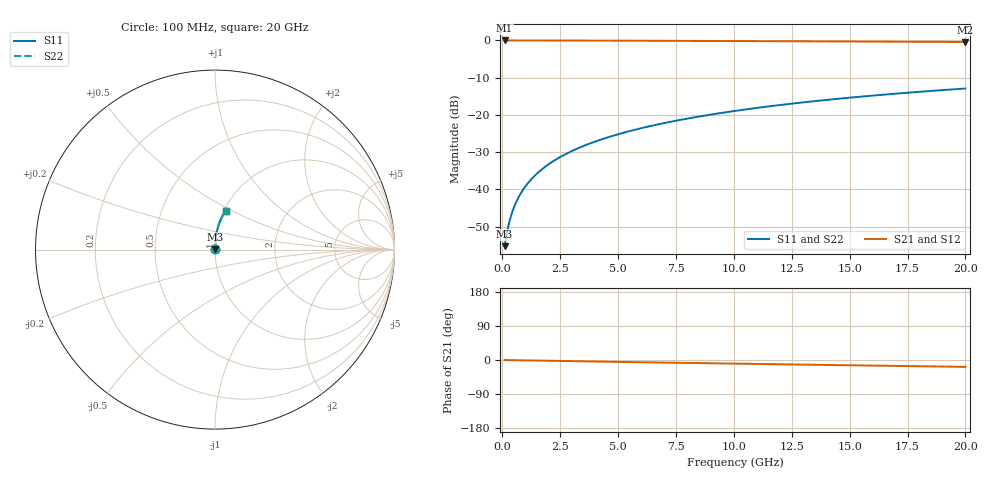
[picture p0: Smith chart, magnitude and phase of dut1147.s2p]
! Touchstone file exported from HFSS 2024.1.0
!  File:  C:/UserFiles/LocalFiles/RDL_TSV_Batchsim/temp_RDL_top_1147_1780048013.aedt
!  Generated:  05:49:12 PM May 29, 2026
!  Design:  RDL_top
!  Project:  temp_RDL_top_1147_1780048013
!  Setup:  Setup1
!  Solution:  Sweep
! Variables:
!  dtsv = 10.80580581um
!  hbump = 3um
!  htsv = 55.97um
!  ldown = 100um
!  lrdl = 200.67um
!  p = 40
!  p1 = 52.7um
!  rhole = 1um
!  t = 450um
!  tdown = 3.915915916um
!  trdl = 3.77um
!  wdown = 15.38538539um
!  wrdl = 16.78um
# GHz S MA R 50.000000
! Terminal data exported
! Port[1] = Box2_T1
! Port[2] = Box2_T2
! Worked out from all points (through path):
!   200 points, 100 MHz to 20 GHz, reference 50 ohm
!   highest |S21| = -0.01 dB at 100 MHz (marker M1); lowest = -0.4 dB at 20 GHz (marker M2)
!   group delay of S21, straight-line fit = 2.5 ps
!   lowest |S11| = -55.3 dB at 100 MHz (marker M3), VSWR 1.00, Z = 50.1 + j0.114 ohm
!   |S11| at or under -10 dB: start of sweep to end of sweep
!   |S22| runs from -55.3 to -12.9 dB; largest |S21 - S12| = 3.3e-15
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0.1  0.001721 41.1  0.9987 -0.1  0.9987 -0.1  0.001721 41.1
! Gamma 0 0 0 0
! Port Impedance 50 0 50 0
0.2  0.002613 59.4  0.9987 -0.2  0.9987 -0.2  0.002613 59.4
0.3  0.003615 67.7  0.9986 -0.3  0.9986 -0.3  0.003615 67.7
0.4  0.004645 72.3  0.9986 -0.4  0.9986 -0.4  0.004645 72.3
0.5  0.005685 75.3  0.9985 -0.5  0.9985 -0.5  0.005685 75.3
0.6  0.006731 77.4  0.9984 -0.6  0.9984 -0.6  0.006731 77.4
0.8  0.008837 80.1  0.9983 -0.8  0.9983 -0.8  0.008837 80.1
1.1  0.01202 82.5  0.9982 -1.1  0.9982 -1.1  0.01202 82.5
1.5  0.01631 84.2  0.9979 -1.5  0.9979 -1.5  0.01631 84.2
1.8  0.01954 85.0  0.9976 -1.8  0.9976 -1.8  0.01954 85.0
2.1  0.02278 85.5  0.9973 -2.1  0.9973 -2.1  0.02278 85.5
2.7  0.02931 86.1  0.9966 -2.7  0.9966 -2.7  0.02931 86.1
3.5  0.03811 86.5  0.9954 -3.5  0.9954 -3.5  0.03811 86.5
4.2  0.04588 86.5  0.9941 -4.2  0.9941 -4.2  0.04588 86.5
5  0.05485 86.4  0.9926 -5.0  0.9926 -5.0  0.05485 86.4
5.9  0.06505 86.1  0.9906 -5.8  0.9906 -5.8  0.06505 86.1
6.8  0.07534 85.6  0.9886 -6.7  0.9886 -6.7  0.07534 85.6
8.3  0.09265 84.7  0.985 -8.0  0.985 -8.0  0.09265 84.7
10.1  0.1136 83.3  0.9804 -9.7  0.9804 -9.7  0.1136 83.3
13.4  0.1518 80.5  0.9717 -12.6  0.9717 -12.6  0.1518 80.5
16.7  0.1893 77.6  0.9625 -15.4  0.9625 -15.4  0.1893 77.6
20  0.2258 74.6  0.9525 -18.2  0.9525 -18.2  0.2258 74.6
